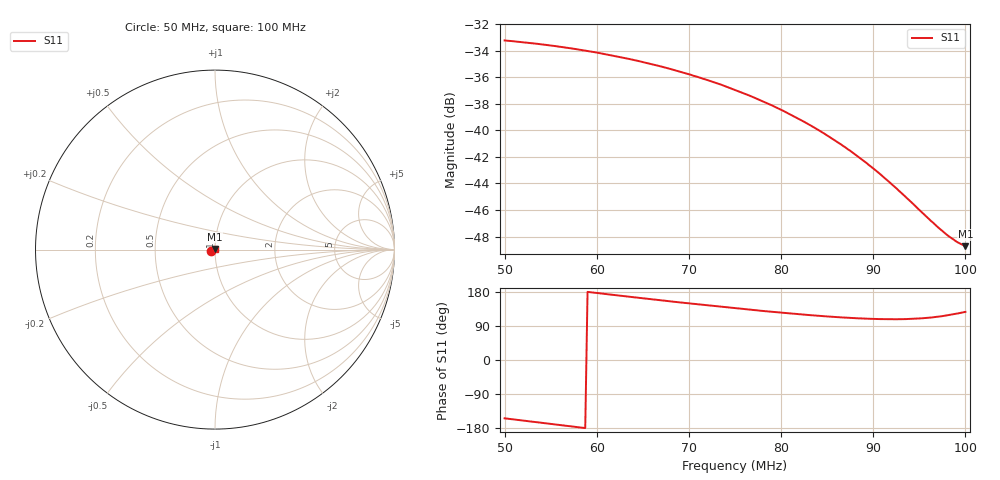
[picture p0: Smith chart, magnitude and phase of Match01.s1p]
!Agilent Technologies,E5072A,MY51200456,A.01.06
!Date: Thu Sep 03 20:59:58 2015
!Data & Calibration Information:
!Freq	S11:SOLT1(ON)
!PortZ  Port1:50+j0
!Above PortZ is port z conversion or system Z0 setting when saving the data.
!When reading, reference impedance value at option line is always used.
# Hz S dB R 50
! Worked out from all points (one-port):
!   201 points, 50 MHz to 100 MHz, reference 50 ohm
!   lowest |S11| = -48.7 dB at 100 MHz (marker M1), VSWR 1.01, Z = 49.8 + j0.291 ohm
!   |S11| at or under -10 dB: start of sweep to end of sweep
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5e7  -33.22 -153.9
5.3e7  -33.43 -162.8
5.625e7  -33.71 -172.4
6e7  -34.13 176.9
6.25e7  -34.46 169.8
6.55e7  -34.92 161.5
6.875e7  -35.51 152.7
7.025e7  -35.82 148.8
7.2e7  -36.20 144.2
7.35e7  -36.55 140.4
7.5e7  -36.95 136.7
7.65e7  -37.35 133.0
7.9e7  -38.11 127.2
8.025e7  -38.53 124.4
8.125e7  -38.89 122.2
8.275e7  -39.44 119.1
8.45e7  -40.15 115.8
8.6e7  -40.82 113.3
8.75e7  -41.53 111.1
8.925e7  -42.44 109.1
9.075e7  -43.29 107.9
9.25e7  -44.35 107.6
9.375e7  -45.16 108.2
9.625e7  -46.81 112.0
9.7e7  -47.29 114.1
9.8e7  -47.88 117.7
9.9e7  -48.37 121.9
1e8  -48.73 127.0
